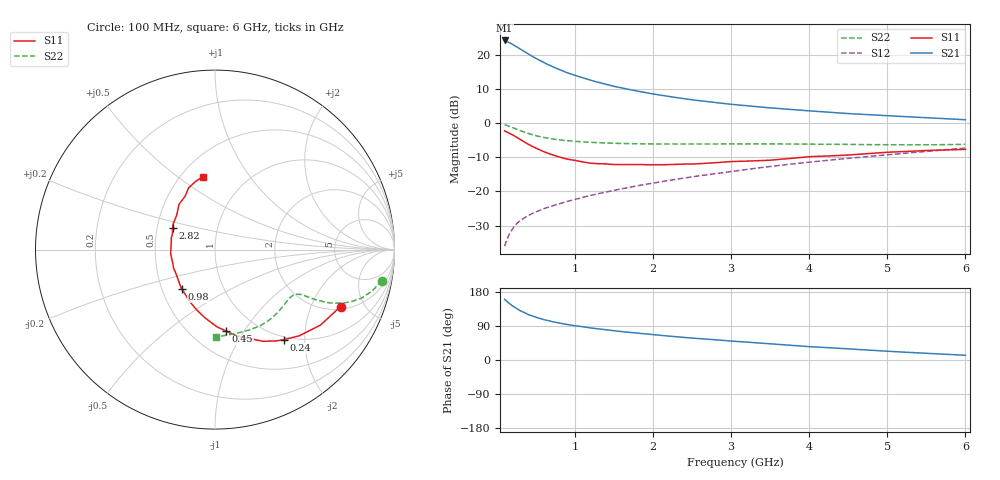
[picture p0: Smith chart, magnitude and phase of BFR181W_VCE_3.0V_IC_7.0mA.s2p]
! Infineon Technologies  Discrete & RF Semiconductors
! BFR181W
! VCE =  3.0 V,  IC =  7.0 mA
! Common Emitter S-Parameters:  Nov 2015
# GHz  S  MA  R  50
!  f  S11  S21  S12  S22
! GHz  MAG  ANG  MAG  ANG  MAG  ANG  MAG  ANG
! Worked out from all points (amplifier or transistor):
!   192 points, 100 MHz to 6 GHz, reference 50 ohm
!   highest |S21| = 24.1 dB at 100 MHz (marker M1)
!   |S21| within 3 dB of that: start of sweep to 333.3 MHz
!   unconditionally stable (mu >= 1): 1.197 GHz to 3.029 GHz
!   at 440 MHz: K = 0.61, MSG = 23.1 dB, |S12| = -26.6 dB
!   at 1.7 GHz: K = 1.05, MAG = 12.9 dB, |S12| = -18.8 dB
!   at 6 GHz: K = 0.79, MSG = 4.1 dB, |S12| = -7.3 dB
!   S11 on the Smith chart (normalised r, x): 100 MHz: 2.15, -3.32; 240 MHz: 0.95, -1.59; 450 MHz: 0.73, -0.84; 980 MHz: 0.63, -0.30; 2.82 GHz: 0.60, +0.16; 6 GHz: 0.64, +0.63
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0.1  0.768 -24.4  16.04 159.9  0.0159 78.0  0.9462 -10.5
0.15  0.7229 -35.5  15.13 150.8  0.0228 73.2  0.9052 -14.8
0.2  0.6728 -45.4  14.09 142.9  0.0283 69.5  0.86 -18.3
0.24  0.6321 -52.6  13.23 137.5  0.0325 66.8  0.8228 -20.3
0.3  0.5766 -62.4  11.98 130.1  0.0376 64.1  0.7733 -22.7
0.32  0.5571 -64.9  11.6 128.3  0.039 63.5  0.7592 -23.1
0.4  0.4917 -76.6  10.21 120.1  0.0444 61.5  0.7034 -25.0
0.45  0.4587 -82.2  9.476 116.7  0.0473 61.0  0.6777 -25.5
0.5  0.4306 -88.5  8.777 112.7  0.0503 60.5  0.6521 -26.0
0.6  0.3822 -98.9  7.649 106.7  0.0561 60.5  0.6145 -26.6
0.7  0.3468 -108.2  6.735 101.6  0.061 61.0  0.5875 -26.9
0.8  0.319 -117.0  6.032 97.4  0.0661 61.7  0.5668 -27.2
0.98  0.2869 -130.1  5.051 91.1  0.0757 62.9  0.542 -27.5
1.1  0.2702 -137.8  4.574 87.7  0.0821 63.7  0.5303 -28.0
1.2  0.2591 -144.6  4.2 84.6  0.0876 64.3  0.5211 -28.5
1.5  0.2474 -161.2  3.434 77.1  0.1037 65.6  0.5052 -30.2
2.08  0.2458 174.6  2.567 65.3  0.1374 67.1  0.4936 -34.9
2.82  0.2642 153.0  1.981 53.0  0.1841 67.0  0.4937 -42.8
3.1  0.2753 146.6  1.831 48.6  0.2029 66.5  0.4947 -46.4
4.1  0.3251 126.7  1.477 34.2  0.2753 63.1  0.4916 -60.6
5.1  0.3779 111.6  1.261 22.0  0.3515 58.2  0.4806 -76.0
6  0.4124 99.1  1.116 12.5  0.4303 53.0  0.4883 -89.6
